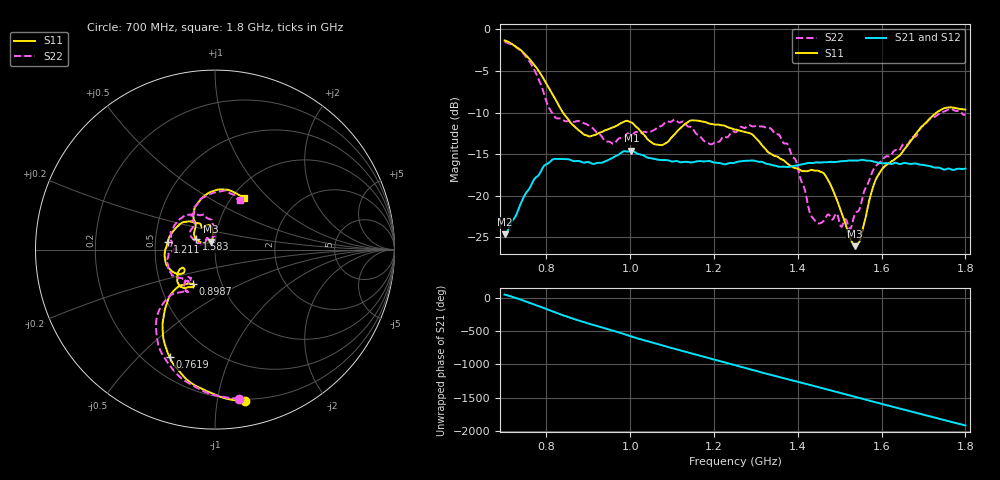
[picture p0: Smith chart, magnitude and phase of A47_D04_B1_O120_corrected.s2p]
! Created with skrf 1.9.0 (http://scikit-rf.org).
# Hz S RI R 50.0
!freq ReS11 ImS11 ReS21 ImS21 ReS12 ImS12 ReS22 ImS22
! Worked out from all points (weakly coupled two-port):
!   1601 points, 700 MHz to 1.8 GHz, reference 50 ohm
!   highest |S21| = -14.59 dB at 1.002 GHz (marker M1); lowest = -24.6 dB at 700.7 MHz (marker M2)
!   lowest |S11| = -26.0 dB at 1.536 GHz (marker M3), VSWR 1.10, Z = 47.6 + j4.22 ohm
!   |S11| at or under -10 dB: 839.4 MHz to 1.731 GHz (891.4 MHz wide, 69.4 % of centre)
!   |S22| runs from -24.0 to -1.5 dB; largest |S21 - S12| = 0.0034
!   S11 on the Smith chart (normalised r, x): 700 MHz: 0.19, -1.20; 761.9 MHz: 0.30, -0.62; 898.7 MHz: 0.73, -0.29; 1.211 GHz: 0.58, +0.05; 1.583 GHz: 0.80, +0.09; 1.8 GHz: 1.13, +0.73
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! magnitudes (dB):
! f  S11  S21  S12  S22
! 700 MHz  -1.3  -24.6  -24.4  -1.5
! 700.7 MHz  -1.3  -24.6  -24.3  -1.5
! 761.9 MHz  -3.7  -18.9  -18.8  -4.1
! 818.9 MHz  -8.2  -15.6  -15.7  -10.5
! 883.6 MHz  -12.4  -15.9  -15.8  -11.2
! 898.7 MHz  -12.8  -15.9  -16.0  -11.5
! 957.8 MHz  -11.8  -15.4  -15.4  -13.7
! 1.002 GHz  -11.2  -14.6  -14.7  -12.7
! 1.067 GHz  -13.9  -15.7  -15.6  -11.7
! 1.143 GHz  -11.0  -16.0  -16.0  -11.7
! 1.211 GHz  -11.4  -16.1  -16.0  -13.5
! 1.25 GHz  -12.0  -16.0  -15.9  -12.4
! 1.355 GHz  -15.4  -16.5  -16.4  -12.7
! 1.396 GHz  -16.7  -16.4  -16.3  -15.8
! 1.434 GHz  -16.9  -16.1  -16.0  -22.5
! 1.471 GHz  -18.0  -15.9  -15.9  -22.3
! 1.524 GHz  -25.0  -15.7  -15.7  -24.0
! 1.536 GHz  -26.0  -15.7  -15.8  -22.2
! 1.583 GHz  -18.4  -15.9  -15.9  -16.6
! 1.617 GHz  -16.1  -16.1  -16.1  -15.3
! 1.733 GHz  -9.9  -16.6  -16.6  -10.3
! 1.8 GHz  -9.6  -16.7  -16.7  -10.2
